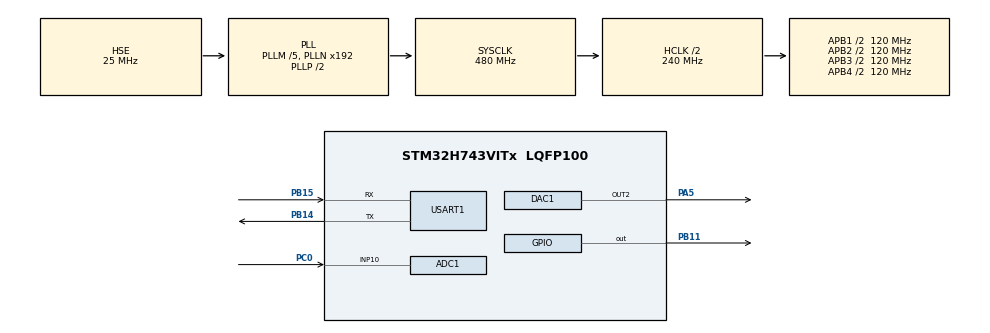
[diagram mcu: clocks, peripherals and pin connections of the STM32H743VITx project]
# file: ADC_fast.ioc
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ADC1.Channel-1\#ChannelRegularConversion=ADC_CHANNEL_10
ADC1.ClockPrescaler=ADC_CLOCK_ASYNC_DIV1
ADC1.ConversionDataManagement=ADC_CONVERSIONDATA_DMA_CIRCULAR
ADC1.DMAAccessModeView=ENABLE
ADC1.ExternalTrigConv=ADC_EXTERNALTRIG_T15_TRGO
ADC1.Mode=ADC_DUALMODE_INTERL
ADC1.NbrOfConversion=1
ADC1.NbrOfConversionFlag=1
ADC1.OffsetNumber-1\#ChannelRegularConversion=ADC_OFFSET_NONE
ADC1.OffsetSignedSaturation-1\#ChannelRegularConversion=DISABLE
ADC1.Rank-1\#ChannelRegularConversion=1
ADC1.Resolution=ADC_RESOLUTION_14B
ADC1.SamplingTime-1\#ChannelRegularConversion=ADC_SAMPLETIME_1CYCLE_5
ADC1.TwoSamplingDelay=ADC_TWOSAMPLINGDELAY_2CYCLES
ADC1.master=1
ADC2.Channel-1\#ChannelRegularConversion=ADC_CHANNEL_10
ADC2.ConversionDataManagement=ADC_CONVERSIONDATA_DR
ADC2.DMAAccessModeView=ENABLE
ADC2.Mode=ADC_DUALMODE_INTERL
ADC2.NbrOfConversion=1
ADC2.NbrOfConversionFlag=1
ADC2.OffsetNumber-1\#ChannelRegularConversion=ADC_OFFSET_NONE
ADC2.OffsetSignedSaturation-1\#ChannelRegularConversion=DISABLE
ADC2.Rank-1\#ChannelRegularConversion=1
ADC2.Resolution=ADC_RESOLUTION_14B
ADC2.SamplingTime-1\#ChannelRegularConversion=ADC_SAMPLETIME_1CYCLE_5
ADC2.TwoSamplingDelay=ADC_TWOSAMPLINGDELAY_2CYCLES
CORTEX_M7.AccessPermission-Cortex_Memory_Protection_Unit_Region0_Settings=MPU_REGION_FULL_ACCESS
CORTEX_M7.AccessPermission-Cortex_Memory_Protection_Unit_Region1_Settings=MPU_REGION_FULL_ACCESS
CORTEX_M7.AccessPermission-Cortex_Memory_Protection_Unit_Region2_Settings=MPU_REGION_FULL_ACCESS
CORTEX_M7.AccessPermission-Cortex_Memory_Protection_Unit_Region3_Settings=MPU_REGION_FULL_ACCESS
CORTEX_M7.AccessPermission-Cortex_Memory_Protection_Unit_Region4_Settings=MPU_REGION_FULL_ACCESS
CORTEX_M7.AccessPermission_S-Cortex_Memory_Protection_Unit_Region1_Settings_S=MPU_REGION_FULL_ACCESS
CORTEX_M7.AccessPermission_S-Cortex_Memory_Protection_Unit_Region2_Settings_S=MPU_REGION_FULL_ACCESS
CORTEX_M7.AccessPermission_Spec=MPU_REGION_FULL_ACCESS
CORTEX_M7.BaseAddress-Cortex_Memory_Protection_Unit_Region0_Settings=0x24000000
CORTEX_M7.BaseAddress-Cortex_Memory_Protection_Unit_Region1_Settings=0x30000000
CORTEX_M7.BaseAddress-Cortex_Memory_Protection_Unit_Region2_Settings=0x30020000
CORTEX_M7.BaseAddress-Cortex_Memory_Protection_Unit_Region3_Settings=0x30040000
CORTEX_M7.BaseAddress-Cortex_Memory_Protection_Unit_Region4_Settings=0x38000000
CORTEX_M7.BaseAddress_S-Cortex_Memory_Protection_Unit_Region1_Settings_S=0x30000000
CORTEX_M7.BaseAddress_S-Cortex_Memory_Protection_Unit_Region2_Settings_S=0x30020000
CORTEX_M7.BaseAddress_Spec=0x24000000
CORTEX_M7.CPU_DCache=Enabled
CORTEX_M7.CPU_ICache=Enabled
CORTEX_M7.DisableExec_S-Cortex_Memory_Protection_Unit_Region1_Settings_S=MPU_INSTRUCTION_ACCESS_ENABLE
CORTEX_M7.DisableExec_S-Cortex_Memory_Protection_Unit_Region2_Settings_S=MPU_INSTRUCTION_ACCESS_ENABLE
CORTEX_M7.DisableExec_Spec=MPU_INSTRUCTION_ACCESS_ENABLE
CORTEX_M7.Enable-Cortex_Memory_Protection_Unit_Region0_Settings=MPU_REGION_ENABLE
CORTEX_M7.Enable-Cortex_Memory_Protection_Unit_Region1_Settings=MPU_REGION_ENABLE
CORTEX_M7.Enable-Cortex_Memory_Protection_Unit_Region2_Settings=MPU_REGION_ENABLE
CORTEX_M7.Enable-Cortex_Memory_Protection_Unit_Region3_Settings=MPU_REGION_ENABLE
CORTEX_M7.Enable-Cortex_Memory_Protection_Unit_Region4_Settings=MPU_REGION_ENABLE
CORTEX_M7.Enable_S-Cortex_Memory_Protection_Unit_Region1_Settings_S=MPU_REGION_ENABLE
CORTEX_M7.Enable_S-Cortex_Memory_Protection_Unit_Region2_Settings_S=MPU_REGION_ENABLE
CORTEX_M7.IsBufferable-Cortex_Memory_Protection_Unit_Region0_Settings=MPU_ACCESS_BUFFERABLE
CORTEX_M7.IsBufferable_S-Cortex_Memory_Protection_Unit_Region1_Settings_S=MPU_ACCESS_NOT_BUFFERABLE
CORTEX_M7.IsBufferable_Spec=MPU_ACCESS_BUFFERABLE
CORTEX_M7.IsCacheable-Cortex_Memory_Protection_Unit_Region0_Settings=MPU_ACCESS_CACHEABLE
CORTEX_M7.IsCacheable_S-Cortex_Memory_Protection_Unit_Region1_Settings_S=MPU_ACCESS_NOT_CACHEABLE
CORTEX_M7.IsCacheable_Spec=MPU_ACCESS_CACHEABLE
CORTEX_M7.IsShareable_Spec=MPU_ACCESS_NOT_SHAREABLE
CORTEX_M7.MPU_Control=MPU_PRIVILEGED_DEFAULT
CORTEX_M7.Size-Cortex_Memory_Protection_Unit_Region0_Settings=MPU_REGION_SIZE_512KB
CORTEX_M7.Size-Cortex_Memory_Protection_Unit_Region1_Settings=MPU_REGION_SIZE_128KB
CORTEX_M7.Size-Cortex_Memory_Protection_Unit_Region2_Settings=MPU_REGION_SIZE_128KB
CORTEX_M7.Size-Cortex_Memory_Protection_Unit_Region3_Settings=MPU_REGION_SIZE_32KB
CORTEX_M7.Size-Cortex_Memory_Protection_Unit_Region4_Settings=MPU_REGION_SIZE_64KB
CORTEX_M7.Size_S-Cortex_Memory_Protection_Unit_Region1_Settings_S=MPU_REGION_SIZE_128KB
CORTEX_M7.Size_S-Cortex_Memory_Protection_Unit_Region2_Settings_S=MPU_REGION_SIZE_128KB
CORTEX_M7.Size_Spec=MPU_REGION_SIZE_512KB
CORTEX_M7.SubRegionDisable_Spec=0x0
CORTEX_M7.TypeExtField-Cortex_Memory_Protection_Unit_Region0_Settings=MPU_TEX_LEVEL1
CORTEX_M7.TypeExtField-Cortex_Memory_Protection_Unit_Region1_Settings=MPU_TEX_LEVEL1
CORTEX_M7.TypeExtField-Cortex_Memory_Protection_Unit_Region2_Settings=MPU_TEX_LEVEL1
CORTEX_M7.TypeExtField-Cortex_Memory_Protection_Unit_Region3_Settings=MPU_TEX_LEVEL1
CORTEX_M7.TypeExtField-Cortex_Memory_Protection_Unit_Region4_Settings=MPU_TEX_LEVEL1
CORTEX_M7.TypeExtField_S-Cortex_Memory_Protection_Unit_Region1_Settings_S=MPU_TEX_LEVEL1
CORTEX_M7.TypeExtField_S-Cortex_Memory_Protection_Unit_Region2_Settings_S=MPU_TEX_LEVEL1
CORTEX_M7.TypeExtField_Spec=MPU_TEX_LEVEL1
Dma.ADC1.0.Direction=DMA_PERIPH_TO_MEMORY
Dma.ADC1.0.EventEnable=DISABLE
Dma.ADC1.0.FIFOMode=DMA_FIFOMODE_DISABLE
Dma.ADC1.0.Instance=DMA1_Stream1
Dma.ADC1.0.MemDataAlignment=DMA_MDATAALIGN_WORD
Dma.ADC1.0.MemInc=DMA_MINC_ENABLE
Dma.ADC1.0.Mode=DMA_NORMAL
Dma.ADC1.0.PeriphDataAlignment=DMA_PDATAALIGN_WORD
Dma.ADC1.0.PeriphInc=DMA_PINC_DISABLE
Dma.ADC1.0.Polarity=HAL_DMAMUX_REQ_GEN_RISING
Dma.ADC1.0.Priority=DMA_PRIORITY_LOW
Dma.ADC1.0.RequestNumber=1
Dma.ADC1.0.SignalID=NONE
Dma.ADC1.0.SyncEnable=DISABLE
Dma.ADC1.0.SyncPolarity=HAL_DMAMUX_SYNC_NO_EVENT
Dma.ADC1.0.SyncRequestNumber=1
Dma.ADC1.0.SyncSignalID=NONE
Dma.DAC1_CH2.1.Direction=DMA_MEMORY_TO_PERIPH
Dma.DAC1_CH2.1.EventEnable=DISABLE
Dma.DAC1_CH2.1.FIFOMode=DMA_FIFOMODE_DISABLE
Dma.DAC1_CH2.1.Instance=DMA1_Stream2
Dma.DAC1_CH2.1.MemDataAlignment=DMA_MDATAALIGN_BYTE
Dma.DAC1_CH2.1.MemInc=DMA_MINC_ENABLE
Dma.DAC1_CH2.1.Mode=DMA_NORMAL
Dma.DAC1_CH2.1.PeriphDataAlignment=DMA_PDATAALIGN_BYTE
Dma.DAC1_CH2.1.PeriphInc=DMA_PINC_DISABLE
Dma.DAC1_CH2.1.Polarity=HAL_DMAMUX_REQ_GEN_RISING
Dma.DAC1_CH2.1.Priority=DMA_PRIORITY_LOW
Dma.DAC1_CH2.1.RequestNumber=1
Dma.DAC1_CH2.1.SignalID=NONE
Dma.DAC1_CH2.1.SyncEnable=DISABLE
Dma.DAC1_CH2.1.SyncPolarity=HAL_DMAMUX_SYNC_NO_EVENT
Dma.DAC1_CH2.1.SyncRequestNumber=1
Dma.DAC1_CH2.1.SyncSignalID=NONE
Dma.Request0=ADC1
Dma.Request1=DAC1_CH2
Mcu.Family=STM32H7
Mcu.Name=STM32H743VITx
Mcu.Package=LQFP100
NVIC.DMA1_Stream1_IRQn=true\:0\:0\:false\:false\:true\:false\:true\:true
NVIC.DMA1_Stream2_IRQn=true\:0\:0\:false\:false\:true\:false\:true\:true
NVIC.PriorityGroup=NVIC_PRIORITYGROUP_4
PA13\ (JTMS/SWDIO).Mode=Serial_Wire
PA13\ (JTMS/SWDIO).Signal=DEBUG_JTMS-SWDIO
PA14\ (JTCK/SWCLK).Mode=Serial_Wire
PA14\ (JTCK/SWCLK).Signal=DEBUG_JTCK-SWCLK
PA5.Signal=COMP_DAC12_group
PB11.GPIO_ModeDefaultOutputPP=GPIO_MODE_OUTPUT_PP
PB11.GPIO_PuPd=GPIO_PULLUP
PB11.GPIO_Speed=GPIO_SPEED_FREQ_LOW
PB11.PinState=GPIO_PIN_SET
PB11.Signal=GPIO_Output
PB14.Mode=Asynchronous
PB14.Signal=USART1_TX
PB15.Mode=Asynchronous
PB15.Signal=USART1_RX
PC0.Signal=ADCx_INP10
PH0-OSC_IN\ (PH0).Mode=HSE-External-Oscillator
PH0-OSC_IN\ (PH0).Signal=RCC_OSC_IN
PH1-OSC_OUT\ (PH1).Mode=HSE-External-Oscillator
PH1-OSC_OUT\ (PH1).Signal=RCC_OSC_OUT
ProjectManager.HeapSize=0x200
ProjectManager.StackSize=0x400
ProjectManager.TargetToolchain=MDK-ARM V5.32
RCC.ADCFreq_Value=72000000
RCC.APB1Freq_Value=120000000
RCC.APB2Freq_Value=120000000
RCC.APB3Freq_Value=120000000
RCC.APB4Freq_Value=120000000
RCC.CortexFreq_Value=480000000
RCC.D1PPRE=RCC_APB3_DIV2
RCC.D2PPRE1=RCC_APB1_DIV2
RCC.D2PPRE2=RCC_APB2_DIV2
RCC.D3PPRE=RCC_APB4_DIV2
RCC.DIVM1=5
RCC.DIVM2=25
RCC.DIVN1=192
RCC.DIVN2=360
RCC.DIVP2=5
RCC.HCLKFreq_Value=240000000
RCC.HPRE=RCC_HCLK_DIV2
RCC.HSE_Timout=5000
RCC.PLLSourceVirtual=RCC_PLLSOURCE_HSE
RCC.ProductRev=revV
RCC.SYSCLKFreq_VALUE=480000000
RCC.SYSCLKSource=RCC_SYSCLKSOURCE_PLLCLK
RCC.USBFreq_Value=480000000
SH.ADCx_INP10.0=ADC1_INP10,IN10-Single-Ended
SH.ADCx_INP10.1=ADC2_INP10,IN10-Single-Ended
SH.COMP_DAC12_group.0=DAC1_OUT2,DAC_OUT2
TIM15.Period=16-1
TIM15.Prescaler=50-1
TIM15.TIM_MasterOutputTrigger=TIM_TRGO_UPDATE
TIM6.AutoReloadPreload=TIM_AUTORELOAD_PRELOAD_ENABLE
TIM6.Period=200-1
TIM6.Prescaler=12-1
TIM6.TIM_MasterOutputTrigger=TIM_TRGO_UPDATE
TIM7.Prescaler=239
USART1.VirtualMode-Asynchronous=VM_ASYNC
VP_TIM15_VS_ClockSourceINT.Mode=Internal
VP_TIM6_VS_ClockSourceINT.Mode=Enable_Timer
VP_TIM7_VS_ClockSourceINT.Mode=Enable_Timer
board=custom

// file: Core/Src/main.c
/* USER CODE BEGIN Header */
/**
  ******************************************************************************
  * @file           : main.c
  * @brief          : Main program body
  ******************************************************************************
  * @attention
  *
  * Copyright (c) 2022 STMicroelectronics.
  * All rights reserved.
  *
  * This software is licensed under terms that can be found in the LICENSE file
  * in the root directory of this software component.
  * If no LICENSE file comes with this software, it is provided AS-IS.
  *
  ******************************************************************************
  */
/* USER CODE END Header */
#include "main.h"
#include "adc.h"
#include "dac.h"
#include "dma.h"
#include "tim.h"
#include "usart.h"
#include "gpio.h"

/* USER CODE BEGIN Includes */

ALIGN_32BYTES (uint16_t Dat[20]) 	__attribute__((section(".ARM.__at_0x38000000")));

/* USER CODE END Includes */

/* USER CODE BEGIN PTD */
ALIGN_32BYTES (uint16_t adc1_data[FFT_LENGTH]) 	__attribute__((section(".ARM.__at_0x30000000")));
__IO uint8_t AdcConvEnd = 0;//表示adc采集完成
void adc_init(void)
{

    MX_ADC1_Init();	//初始化调用放这里, 确保在MX_DMA_Init()初始化后面
    HAL_Delay(100);	//有地方说这里可以等等电压稳定后再校准

//    if (HAL_ADCEx_Calibration_Start(&hadc1, ADC_CALIB_OFFSET, ADC_SINGLE_ENDED) != HAL_OK)
//    {
//        printf("hadc1 error with HAL_ADCEx_Calibration_Start\r\n");
//        Error_Handler();
//    }
		HAL_ADC_Start(&hadc2);

    if (HAL_ADCEx_MultiModeStart_DMA(&hadc1, (uint32_t *)adc1_data, ADC1_BUFFER_SIZE) != HAL_OK)
    {
        printf("hadc1 error with HAL_ADC_Start_DMA\r\n");
        Error_Handler();
    }

		HAL_TIM_Base_Start(&htim15);
		while (!AdcConvEnd);
		AdcConvEnd = 0;
		HAL_ADC_DeInit(&hadc1);
}

/* USER CODE END PTD */

/* USER CODE BEGIN PM */

void SineWave()
{
    uint16_t i;
    for( i=0;i<20;i++)
    {
  		Dat[i]=(uint16_t)((int16_t)(2048*sin(i*2*3.14159/20))+2048);

    }
}
/* USER CODE END PM */

void SystemClock_Config(void);
void PeriphCommonClock_Config(void);
static void MPU_Config(void);

int main(void)
{

  /* MPU Configuration--------------------------------------------------------*/
  MPU_Config();

  /* Enable I-Cache---------------------------------------------------------*/
  SCB_EnableICache();

  /* Enable D-Cache---------------------------------------------------------*/
  SCB_EnableDCache();

  /* MCU Configuration--------------------------------------------------------*/

  /* Reset of all peripherals, Initializes the Flash interface and the Systick. */
  HAL_Init();

  /* Configure the system clock */
  SystemClock_Config();

/* Configure the peripherals common clocks */
  PeriphCommonClock_Config();

  /* Initialize all configured peripherals */
  MX_GPIO_Init();
  MX_DMA_Init();
  MX_USART1_UART_Init();
  MX_TIM7_Init();
  MX_TIM6_Init();
  MX_ADC1_Init();
  MX_TIM15_Init();
  MX_DAC1_Init();
  MX_ADC2_Init();
  /* USER CODE BEGIN 2 */

//  HAL_Delay(1000);
  adc_init();
//  adc_init();
//  adc_init();
  for (u16 temp = 0; temp< 10000;temp++)
  {
		printf("%d\r\n", adc1_data[temp]);
  }

//  FFT_Init();
//  FFT_DIS();
  /* USER CODE END 2 */

  /* Infinite loop */
  while (1)
  {

    /* USER CODE BEGIN 3 */
//	  for (u16 temp = 0; temp< 200;temp++)
//	  {
//		Dat[temp] = HAL_DAC_GetValue(&hdac1, DAC_CHANNEL_2);
//		printf("%d\r\n", Dat[temp]);
//	  }

  }
  /* USER CODE END 3 */
}

void SystemClock_Config(void)
{
  RCC_OscInitTypeDef RCC_OscInitStruct = {0};
  RCC_ClkInitTypeDef RCC_ClkInitStruct = {0};

  /** Supply configuration update enable
  */
  HAL_PWREx_ConfigSupply(PWR_LDO_SUPPLY);

  /** Configure the main internal regulator output voltage
  */
  __HAL_PWR_VOLTAGESCALING_CONFIG(PWR_REGULATOR_VOLTAGE_SCALE1);

  while(!__HAL_PWR_GET_FLAG(PWR_FLAG_VOSRDY)) {}

  __HAL_RCC_SYSCFG_CLK_ENABLE();
  __HAL_PWR_VOLTAGESCALING_CONFIG(PWR_REGULATOR_VOLTAGE_SCALE0);

  while(!__HAL_PWR_GET_FLAG(PWR_FLAG_VOSRDY)) {}

  /** Initializes the RCC Oscillators according to the specified parameters
  * in the RCC_OscInitTypeDef structure.
  */
  RCC_OscInitStruct.OscillatorType = RCC_OSCILLATORTYPE_HSE;
  RCC_OscInitStruct.HSEState = RCC_HSE_ON;
  RCC_OscInitStruct.PLL.PLLState = RCC_PLL_ON;
  RCC_OscInitStruct.PLL.PLLSource = RCC_PLLSOURCE_HSE;
  RCC_OscInitStruct.PLL.PLLM = 5;
  RCC_OscInitStruct.PLL.PLLN = 192;
  RCC_OscInitStruct.PLL.PLLP = 2;
  RCC_OscInitStruct.PLL.PLLQ = 2;
  RCC_OscInitStruct.PLL.PLLR = 2;
  RCC_OscInitStruct.PLL.PLLRGE = RCC_PLL1VCIRANGE_2;
  RCC_OscInitStruct.PLL.PLLVCOSEL = RCC_PLL1VCOWIDE;
  RCC_OscInitStruct.PLL.PLLFRACN = 0;
  if (HAL_RCC_OscConfig(&RCC_OscInitStruct) != HAL_OK)
  {
    Error_Handler();
  }

  /** Initializes the CPU, AHB and APB buses clocks
  */
  RCC_ClkInitStruct.ClockType = RCC_CLOCKTYPE_HCLK|RCC_CLOCKTYPE_SYSCLK
                              |RCC_CLOCKTYPE_PCLK1|RCC_CLOCKTYPE_PCLK2
                              |RCC_CLOCKTYPE_D3PCLK1|RCC_CLOCKTYPE_D1PCLK1;
  RCC_ClkInitStruct.SYSCLKSource = RCC_SYSCLKSOURCE_PLLCLK;
  RCC_ClkInitStruct.SYSCLKDivider = RCC_SYSCLK_DIV1;
  RCC_ClkInitStruct.AHBCLKDivider = RCC_HCLK_DIV2;
  RCC_ClkInitStruct.APB3CLKDivider = RCC_APB3_DIV2;
  RCC_ClkInitStruct.APB1CLKDivider = RCC_APB1_DIV2;
  RCC_ClkInitStruct.APB2CLKDivider = RCC_APB2_DIV2;
  RCC_ClkInitStruct.APB4CLKDivider = RCC_APB4_DIV2;

  if (HAL_RCC_ClockConfig(&RCC_ClkInitStruct, FLASH_LATENCY_4) != HAL_OK)
  {
    Error_Handler();
  }
}

void PeriphCommonClock_Config(void)
{
  RCC_PeriphCLKInitTypeDef PeriphClkInitStruct = {0};

  /** Initializes the peripherals clock
  */
  PeriphClkInitStruct.PeriphClockSelection = RCC_PERIPHCLK_ADC;
  PeriphClkInitStruct.PLL2.PLL2M = 25;
  PeriphClkInitStruct.PLL2.PLL2N = 360;
  PeriphClkInitStruct.PLL2.PLL2P = 5;
  PeriphClkInitStruct.PLL2.PLL2Q = 2;
  PeriphClkInitStruct.PLL2.PLL2R = 2;
  PeriphClkInitStruct.PLL2.PLL2RGE = RCC_PLL2VCIRANGE_0;
  PeriphClkInitStruct.PLL2.PLL2VCOSEL = RCC_PLL2VCOWIDE;
  PeriphClkInitStruct.PLL2.PLL2FRACN = 0;
  PeriphClkInitStruct.AdcClockSelection = RCC_ADCCLKSOURCE_PLL2;
  if (HAL_RCCEx_PeriphCLKConfig(&PeriphClkInitStruct) != HAL_OK)
  {
    Error_Handler();
  }
}

/* USER CODE BEGIN 4 */
void HAL_ADC_ConvCpltCallback(ADC_HandleTypeDef* hadc)
{
   if(hadc->Instance == ADC1)
	{
      //SCB_InvalidateDCache_by_Addr((uint32_t *) &adc1_data[0], ADC1_BUFFER_SIZE);
   }
	 AdcConvEnd = 1;
}

/* USER CODE END 4 */

/* MPU Configuration */

void MPU_Config(void)
{
  MPU_Region_InitTypeDef MPU_InitStruct = {0};

  /* Disables the MPU */
  HAL_MPU_Disable();

  /** Initializes and configures the Region and the memory to be protected
  */
  MPU_InitStruct.Enable = MPU_REGION_ENABLE;
  MPU_InitStruct.Number = MPU_REGION_NUMBER0;
  MPU_InitStruct.BaseAddress = 0x24000000;
  MPU_InitStruct.Size = MPU_REGION_SIZE_512KB;
  MPU_InitStruct.SubRegionDisable = 0x0;
  MPU_InitStruct.TypeExtField = MPU_TEX_LEVEL1;
  MPU_InitStruct.AccessPermission = MPU_REGION_FULL_ACCESS;
  MPU_InitStruct.DisableExec = MPU_INSTRUCTION_ACCESS_ENABLE;
  MPU_InitStruct.IsShareable = MPU_ACCESS_NOT_SHAREABLE;
  MPU_InitStruct.IsCacheable = MPU_ACCESS_CACHEABLE;
  MPU_InitStruct.IsBufferable = MPU_ACCESS_BUFFERABLE;

  HAL_MPU_ConfigRegion(&MPU_InitStruct);

  /** Initializes and configures the Region and the memory to be protected
  */
  MPU_InitStruct.Number = MPU_REGION_NUMBER1;
  MPU_InitStruct.BaseAddress = 0x30000000;
  MPU_InitStruct.Size = MPU_REGION_SIZE_128KB;
  MPU_InitStruct.IsCacheable = MPU_ACCESS_NOT_CACHEABLE;
  MPU_InitStruct.IsBufferable = MPU_ACCESS_NOT_BUFFERABLE;

  HAL_MPU_ConfigRegion(&MPU_InitStruct);

  /** Initializes and configures the Region and the memory to be protected
  */
  MPU_InitStruct.Number = MPU_REGION_NUMBER2;
  MPU_InitStruct.BaseAddress = 0x30020000;

  HAL_MPU_ConfigRegion(&MPU_InitStruct);

  /** Initializes and configures the Region and the memory to be protected
  */
  MPU_InitStruct.Number = MPU_REGION_NUMBER3;
  MPU_InitStruct.BaseAddress = 0x30040000;
  MPU_InitStruct.Size = MPU_REGION_SIZE_32KB;

  HAL_MPU_ConfigRegion(&MPU_InitStruct);

  /** Initializes and configures the Region and the memory to be protected
  */
  MPU_InitStruct.Number = MPU_REGION_NUMBER4;
  MPU_InitStruct.BaseAddress = 0x38000000;
  MPU_InitStruct.Size = MPU_REGION_SIZE_64KB;

  HAL_MPU_ConfigRegion(&MPU_InitStruct);
  /* Enables the MPU */
  HAL_MPU_Enable(MPU_PRIVILEGED_DEFAULT);

}

void Error_Handler(void)
{
  __disable_irq();
  while (1)
  {
  }
}
